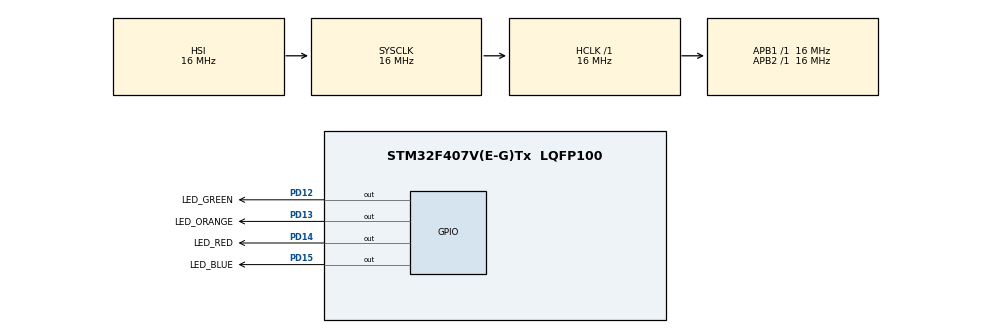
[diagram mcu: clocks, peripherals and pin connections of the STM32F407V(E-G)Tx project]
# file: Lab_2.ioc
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Mcu.Family=STM32F4
Mcu.Name=STM32F407V(E-G)Tx
Mcu.Package=LQFP100
NVIC.PriorityGroup=NVIC_PRIORITYGROUP_4
PD12.GPIO_Label=LED_GREEN
PD12.Signal=GPIO_Output
PD13.GPIO_Label=LED_ORANGE
PD13.Signal=GPIO_Output
PD14.GPIO_Label=LED_RED
PD14.Signal=GPIO_Output
PD15.GPIO_Label=LED_BLUE
PD15.Signal=GPIO_Output
ProjectManager.HeapSize=0x200
ProjectManager.StackSize=0x400
ProjectManager.TargetToolchain=MDK-ARM V5.32
RCC.AHBFreq_Value=16000000
RCC.APB1Freq_Value=16000000
RCC.APB2Freq_Value=16000000
RCC.CortexFreq_Value=16000000
RCC.HSE_VALUE=25000000
RCC.HSI_VALUE=16000000
RCC.LSE_VALUE=32768
RCC.SYSCLKFreq_VALUE=16000000
RCC.VCOOutputFreq_Value=192000000
board=custom

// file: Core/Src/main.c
/* USER CODE BEGIN Header */
/**
  ******************************************************************************
  * @file           : main.c
  * @brief          : Main program body
  ******************************************************************************
  * @attention
  *
  * Copyright (c) 2022 STMicroelectronics.
  * All rights reserved.
  *
  * This software is licensed under terms that can be found in the LICENSE file
  * in the root directory of this software component.
  * If no LICENSE file comes with this software, it is provided AS-IS.
  *
  ******************************************************************************
  */
/* USER CODE END Header */
#include "main.h"
#include "gpio.h"

void SystemClock_Config(void);

int main(void)
{

  /* MCU Configuration--------------------------------------------------------*/

  /* Reset of all peripherals, Initializes the Flash interface and the Systick. */
  HAL_Init();

  /* Configure the system clock */
  SystemClock_Config();

  /* Initialize all configured peripherals */
  MX_GPIO_Init();
  /* USER CODE BEGIN 2 */
HAL_GPIO_WritePin(LED_GREEN_GPIO_Port, LED_GREEN_Pin, GPIO_PIN_RESET);
	HAL_GPIO_WritePin(LED_ORANGE_GPIO_Port, LED_ORANGE_Pin, GPIO_PIN_RESET);
	HAL_GPIO_WritePin(LED_RED_GPIO_Port, LED_RED_Pin, GPIO_PIN_RESET);
	HAL_GPIO_WritePin(LED_BLUE_GPIO_Port, LED_BLUE_Pin, GPIO_PIN_RESET);
  /* USER CODE END 2 */

  /* Infinite loop */
  /* USER CODE BEGIN WHILE */
  while (1)
  {
		HAL_Delay(200);
		HAL_GPIO_WritePin(LED_GREEN_GPIO_Port, LED_GREEN_Pin, GPIO_PIN_SET);
		HAL_GPIO_WritePin(LED_ORANGE_GPIO_Port, LED_ORANGE_Pin, GPIO_PIN_SET);
		HAL_GPIO_WritePin(LED_RED_GPIO_Port, LED_RED_Pin, GPIO_PIN_SET);

		HAL_Delay(400);
		HAL_GPIO_WritePin(LED_RED_GPIO_Port, LED_RED_Pin, GPIO_PIN_RESET);
		HAL_GPIO_WritePin(LED_BLUE_GPIO_Port, LED_BLUE_Pin, GPIO_PIN_SET);
		HAL_GPIO_WritePin(LED_GREEN_GPIO_Port, LED_GREEN_Pin, GPIO_PIN_RESET);

		HAL_Delay(200);
		HAL_GPIO_WritePin(LED_ORANGE_GPIO_Port, LED_ORANGE_Pin, GPIO_PIN_RESET);

		HAL_Delay(500);
		HAL_GPIO_WritePin(LED_GREEN_GPIO_Port, LED_GREEN_Pin, GPIO_PIN_SET);
		HAL_GPIO_WritePin(LED_ORANGE_GPIO_Port, LED_ORANGE_Pin, GPIO_PIN_SET);
		HAL_GPIO_WritePin(LED_RED_GPIO_Port, LED_RED_Pin, GPIO_PIN_SET);
		HAL_GPIO_WritePin(LED_BLUE_GPIO_Port, LED_BLUE_Pin, GPIO_PIN_SET);

		HAL_Delay(500);
		HAL_GPIO_WritePin(LED_GREEN_GPIO_Port, LED_GREEN_Pin, GPIO_PIN_RESET);
		HAL_GPIO_WritePin(LED_ORANGE_GPIO_Port, LED_ORANGE_Pin, GPIO_PIN_RESET);
		HAL_GPIO_WritePin(LED_RED_GPIO_Port, LED_RED_Pin, GPIO_PIN_RESET);
		HAL_GPIO_WritePin(LED_BLUE_GPIO_Port, LED_BLUE_Pin, GPIO_PIN_RESET);
    /* USER CODE END WHILE */

  }
}

void SystemClock_Config(void)
{
  RCC_OscInitTypeDef RCC_OscInitStruct = {0};
  RCC_ClkInitTypeDef RCC_ClkInitStruct = {0};

  /** Configure the main internal regulator output voltage
  */
  __HAL_RCC_PWR_CLK_ENABLE();
  __HAL_PWR_VOLTAGESCALING_CONFIG(PWR_REGULATOR_VOLTAGE_SCALE1);

  /** Initializes the RCC Oscillators according to the specified parameters
  * in the RCC_OscInitTypeDef structure.
  */
  RCC_OscInitStruct.OscillatorType = RCC_OSCILLATORTYPE_HSI;
  RCC_OscInitStruct.HSIState = RCC_HSI_ON;
  RCC_OscInitStruct.HSICalibrationValue = RCC_HSICALIBRATION_DEFAULT;
  RCC_OscInitStruct.PLL.PLLState = RCC_PLL_NONE;
  if (HAL_RCC_OscConfig(&RCC_OscInitStruct) != HAL_OK)
  {
    Error_Handler();
  }

  /** Initializes the CPU, AHB and APB buses clocks
  */
  RCC_ClkInitStruct.ClockType = RCC_CLOCKTYPE_HCLK|RCC_CLOCKTYPE_SYSCLK
                              |RCC_CLOCKTYPE_PCLK1|RCC_CLOCKTYPE_PCLK2;
  RCC_ClkInitStruct.SYSCLKSource = RCC_SYSCLKSOURCE_HSI;
  RCC_ClkInitStruct.AHBCLKDivider = RCC_SYSCLK_DIV1;
  RCC_ClkInitStruct.APB1CLKDivider = RCC_HCLK_DIV1;
  RCC_ClkInitStruct.APB2CLKDivider = RCC_HCLK_DIV1;

  if (HAL_RCC_ClockConfig(&RCC_ClkInitStruct, FLASH_LATENCY_0) != HAL_OK)
  {
    Error_Handler();
  }
}

void Error_Handler(void)
{
  __disable_irq();
  while (1)
  {
  }
}
